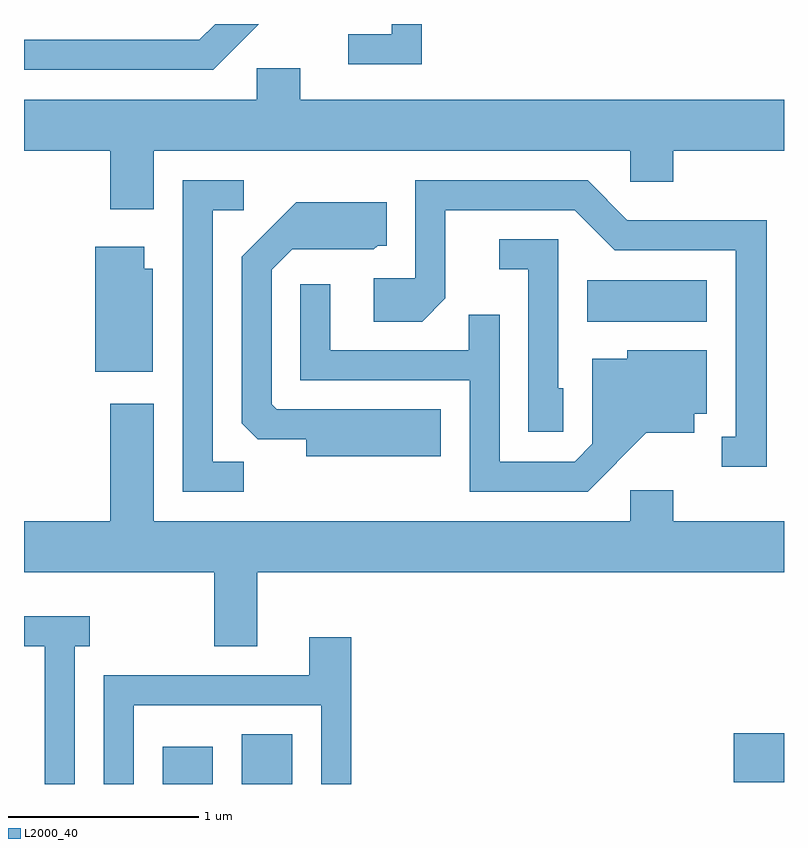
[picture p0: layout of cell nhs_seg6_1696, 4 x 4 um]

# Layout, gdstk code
import gdstk
lib = gdstk.Library(unit=1e-6, precision=1e-09)
def R(c, l, rs):  # rectangles x0, y0, x1, y1
    for r in rs: c.add(gdstk.rectangle(r[:2], r[2:], *l))
def P(c, l, *ps):  # polygons
    for p in ps: c.add(gdstk.Polygon(p, *l))
L2000_40 = (2000, 40)

nhs_seg6_1696 = lib.new_cell('nhs_seg6_1696')
R(nhs_seg6_1696, L2000_40, [(236.341,1642.162,236.604,1642.359), (236.756,1642.162,237.024,1642.424), (239.346,1642.171,239.611,1642.429), (238.576,1644.596,239.204,1644.814)])
P(nhs_seg6_1696, L2000_40, [(236.847,1646.162),(236.617,1646.162),(236.534,1646.079),(235.611,1646.079),(235.611,1645.921),(236.607,1645.921)],
  [(237.704,1646.162),(237.546,1646.162),(237.546,1646.109),(237.318,1646.109),(237.318,1645.951),(237.704,1645.951)],
  [(236.294,1645.496),(238.801,1645.496),(238.801,1645.331),(239.029,1645.331),(239.029,1645.496),(239.611,1645.496),(239.611,1645.764),(237.064,1645.764),(237.064,1645.929),(236.836,1645.929),(236.836,1645.764),(235.611,1645.764),(235.611,1645.496),(236.066,1645.496),(236.066,1645.186),(236.294,1645.186)],
  [(236.768,1643.859),(236.604,1643.859),(236.604,1645.181),(236.768,1645.181),(236.768,1645.339),(236.446,1645.339),(236.446,1643.701),(236.768,1643.701)],
  [(239.519,1645.129),(238.787,1645.129),(238.577,1645.339),(237.671,1645.339),(237.671,1644.824),(237.451,1644.824),(237.451,1644.596),(237.707,1644.596),(237.829,1644.719),(237.829,1645.181),(238.509,1645.181),(238.719,1644.971),(239.356,1644.971),(239.356,1643.989),(239.283,1643.989),(239.283,1643.831),(239.519,1643.831)],
  [(237.804,1644.134),(236.942,1644.134),(236.914,1644.162),(236.914,1644.869),(237.022,1644.976),(237.452,1644.976),(237.472,1644.996),(237.519,1644.996),(237.519,1645.224),(237.044,1645.224),(236.756,1644.937),(236.756,1644.062),(236.842,1643.976),(237.096,1643.976),(237.096,1643.886),(237.804,1643.886)],
  [(238.449,1644.244),(238.424,1644.244),(238.424,1645.029),(238.113,1645.029),(238.113,1644.871),(238.266,1644.871),(238.266,1644.016),(238.449,1644.016)],
  [(236.289,1644.874),(236.244,1644.874),(236.244,1644.989),(235.986,1644.989),(235.986,1644.331),(236.289,1644.331)],
  [(238.887,1644.011),(239.139,1644.011),(239.139,1644.111),(239.204,1644.111),(239.204,1644.444),(238.786,1644.444),(238.786,1644.399),(238.601,1644.399),(238.601,1643.952),(238.509,1643.859),(238.114,1643.859),(238.114,1644.633),(237.951,1644.633),(237.951,1644.444),(237.224,1644.444),(237.224,1644.793),(237.066,1644.793),(237.066,1644.286),(237.956,1644.286),(237.956,1643.701),(238.577,1643.701)],
  [(236.839,1643.276),(239.611,1643.276),(239.611,1643.544),(239.029,1643.544),(239.029,1643.709),(238.801,1643.709),(238.801,1643.544),(236.294,1643.544),(236.294,1644.164),(236.066,1644.164),(236.066,1643.544),(235.611,1643.544),(235.611,1643.276),(236.611,1643.276),(236.611,1642.886),(236.839,1642.886)],
  [(235.879,1642.886),(235.958,1642.886),(235.958,1643.044),(235.611,1643.044),(235.611,1642.886),(235.721,1642.886),(235.721,1642.162),(235.879,1642.162)],
  [(236.189,1642.576),(237.176,1642.576),(237.176,1642.162),(237.334,1642.162),(237.334,1642.934),(237.111,1642.934),(237.111,1642.734),(236.031,1642.734),(236.031,1642.162),(236.189,1642.162)])

lib.write_gds('nhs_seg6_1696.gds')
